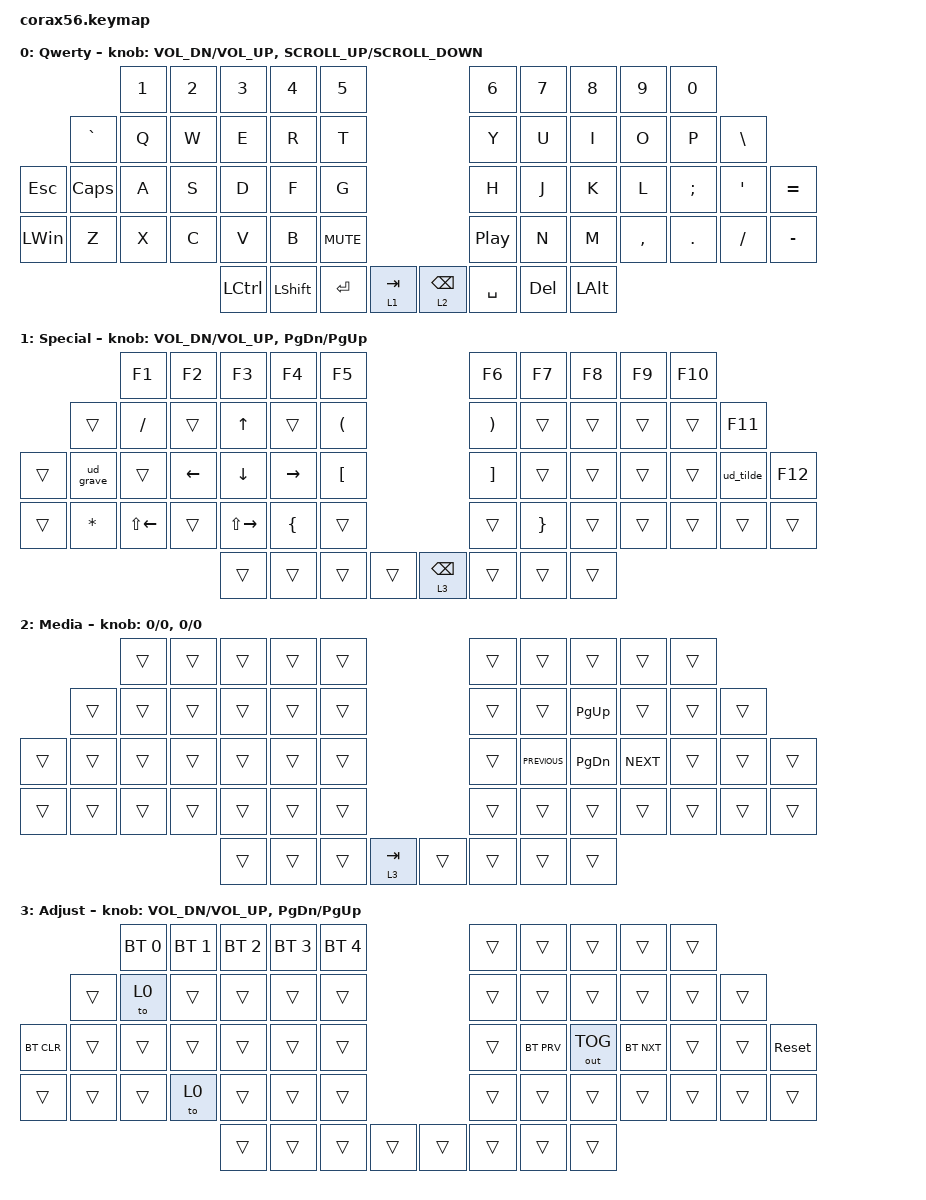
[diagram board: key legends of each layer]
#include <behaviors.dtsi>
#include <dt-bindings/zmk/bt.h>
#include <dt-bindings/zmk/keys.h>
#include <dt-bindings/zmk/outputs.h>

#define COLEMAK 0
#define DEFAULT 1
#define SPEC   2
#define NAV   3
#define ADJUST 4

// tapdance timing

#define TAPTERM 100

// additional caps word keys

&caps_word {
    continue-list = <UNDERSCORE MINUS LS(MINUS) UP DOWN LEFT RIGHT BSPC DEL>;
};

// faster layertap

&lt {
    quick-tap-ms = <0>;
    tapping-term-ms = <150>;
};

// faster modtap

&mt {
    tapping-term-ms = <200>;
};

/ {
    // adjust layer when both navigation keys are pressed 

    conditional_layers {
        compatible = "zmk,conditional-layers";

        tri_layer {
            if-layers = <SPEC NAV>;
            then-layer = <ADJUST>;
        };
    };

    behaviors {
        // F5 / double tap reset 

        tdrstl: tdrstl {
            compatible = "zmk,behavior-tap-dance";
            label = "tdrstl";
            #binding-cells = <0>;
            tapping-term-ms = <TAPTERM>;
            bindings =
                <&kp F5>,
                <&sys_reset>;
        };

        // F6 / double tap reset

        tdrstr: tdrstr {
            compatible = "zmk,behavior-tap-dance";
            label = "tdrstr";
            #binding-cells = <0>;
            tapping-term-ms = <TAPTERM>;
            bindings =
                <&kp F6>,
                <&sys_reset>;
        };
    };

    macros {
        // undead `

        ud_grave: ud_grave {
            label = "UNDEAD_GRAVE";
            compatible = "zmk,behavior-macro";
            #binding-cells = <0>;
            wait-ms = <10>;
            tap-ms = <10>;
            bindings = <&kp GRAVE &kp SPACE>;
        };

        // undead ~

        ud_tilde: ud_tilde {
            label = "UNDEAD_TILDE";
            compatible = "zmk,behavior-macro";
            #binding-cells = <0>;
            wait-ms = <10>;
            tap-ms = <10>;
            bindings = <&kp TILDE &kp SPACE>;
        };

        // undead ^

        ud_caret: ud_caret {
            label = "UNDEAD_CARET";
            compatible = "zmk,behavior-macro";
            #binding-cells = <0>;
            wait-ms = <10>;
            tap-ms = <10>;
            bindings = <&kp CARET &kp SPACE>;
        };

        // undead "

        ud_sqt: ud_sqt {
            label = "UNDEAD_SINGLE_QUOTE";
            compatible = "zmk,behavior-macro";
            #binding-cells = <0>;
            wait-ms = <10>;
            tap-ms = <10>;
            bindings = <&kp SQT &kp SPACE>;
        };
    };

    keymap {
        compatible = "zmk,keymap";

        qwerty_layer {
            label = "Qwerty";
            bindings = <
                       &kp N1  &kp N2     &kp N3          &kp N4     &kp N5                                     &kp N6   &kp N7        &kp N8   &kp N9    &kp N0
            &kp GRAVE   &kp Q   &kp W      &kp E           &kp R      &kp T                                      &kp Y    &kp U         &kp I    &kp O     &kp P   &kp BSLH
&kp ESC  &kp CAPSLOCK   &kp A   &kp S      &kp D           &kp F      &kp G                                      &kp H    &kp J         &kp K    &kp L  &kp SEMI    &kp SQT  &kp EQUAL
             &kp LWIN   &kp Z   &kp X      &kp C           &kp V      &kp B  &kp C_MUTE    &kp C_PLAY_PAUSE      &kp N    &kp M     &kp COMMA  &kp DOT  &kp FSLH  &kp MINUS
                                       &kp LCTRL  &kp LEFT_SHIFT  &kp ENTER   &lt 1 TAB     &lt 2 BACKSPACE  &kp SPACE  &kp DEL  &kp LEFT_ALT
            >;

            sensor-bindings =
                <&inc_dec_kp C_VOL_DN C_VOL_UP>,
                <&inc_dec_kp K_SCROLL_UP K_SCROLL_DOWN>;
        };

        special_layer {
            label = "Special";
            bindings = <
                      &kp F1              &kp F2    &kp F3         &kp F4                &kp F5                                            &kp F6  &kp F7  &kp F8  &kp F9  &kp F10
           &trans  &kp SLASH              &trans    &kp UP         &trans  &kp LEFT_PARENTHESIS                             &kp RIGHT_PARENTHESIS  &trans  &trans  &trans   &trans    &kp F11
&trans  &ud_grave     &trans            &kp LEFT  &kp DOWN      &kp RIGHT              &kp LBKT                                 &kp RIGHT_BRACKET  &trans  &trans  &trans   &trans  &ud_tilde  &kp F12
           &trans   &kp STAR  &kp LS(LEFT_ARROW)    &trans  &kp LS(RIGHT)        &kp LEFT_BRACE  &trans             &trans        &kp RIGHT_BRACE  &trans  &trans  &trans   &trans     &trans
                                                    &trans         &trans                &trans  &trans    &lt 3 BACKSPACE                 &trans  &trans  &trans
            >;

            sensor-bindings = <&inc_dec_kp C_VOL_DN C_VOL_UP &inc_dec_kp PG_DN PG_UP>;
        };

        media_layer {
            bindings = <
                &trans  &trans  &trans  &trans  &trans                       &trans          &trans         &trans      &trans  &trans
        &trans  &trans  &trans  &trans  &trans  &trans                       &trans          &trans    &kp PAGE_UP      &trans  &trans  &trans
&trans  &trans  &trans  &trans  &trans  &trans  &trans                       &trans  &kp C_PREVIOUS  &kp PAGE_DOWN  &kp C_NEXT  &trans  &trans  &trans
        &trans  &trans  &trans  &trans  &trans  &trans     &trans    &trans  &trans          &trans         &trans      &trans  &trans  &trans
                                &trans  &trans  &trans  &lt 3 TAB    &trans  &trans          &trans         &trans
            >;

            sensor-bindings =
                <&inc_dec_kp 0 0>,
                <&inc_dec_kp 0 0>;

            label = "Media";
        };

        adjust_layer {
            label = "Adjust";
            bindings = <
                    &bt BT_SEL 0  &bt BT_SEL 1  &bt BT_SEL 2  &bt BT_SEL 3  &bt BT_SEL 4                    &trans      &trans        &trans      &trans  &trans
            &trans         &to 0        &trans        &trans        &trans        &trans                    &trans      &trans        &trans      &trans  &trans  &trans
&bt BT_CLR  &trans        &trans        &trans        &trans        &trans        &trans                    &trans  &bt BT_PRV  &out OUT_TOG  &bt BT_NXT  &trans  &trans  &sys_reset
            &trans        &trans        &trans         &to 0        &trans        &trans  &trans    &trans  &trans      &trans        &trans      &trans  &trans  &trans
                                                      &trans        &trans        &trans  &trans    &trans  &trans      &trans        &trans
            >;

            sensor-bindings = <&inc_dec_kp C_VOL_DN C_VOL_UP &inc_dec_kp PG_DN PG_UP>;
        };
    };
};
